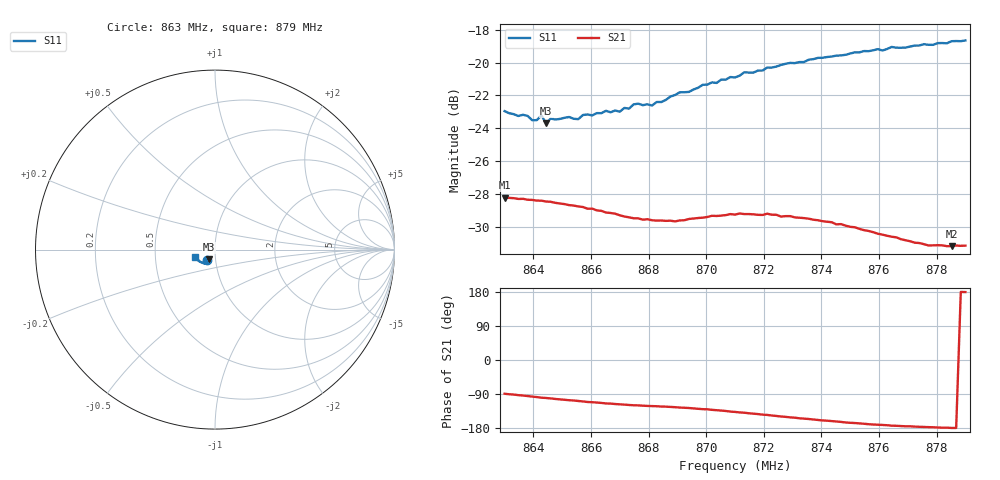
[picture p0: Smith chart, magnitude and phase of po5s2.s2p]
# HZ S RI R 50
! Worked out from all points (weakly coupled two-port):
!   101 points, 863 MHz to 879 MHz, reference 50 ohm
!   highest |S21| = -28.23 dB at 863 MHz (marker M1); lowest = -31.2 dB at 878.52 MHz (marker M2)
!   lowest |S11| = -23.7 dB at 864.44 MHz (marker M3), VSWR 1.14, Z = 46.3 - j5.08 ohm
!   |S11| at or under -10 dB: start of sweep to end of sweep
!   S12 and S22 are empty: the file has one direction only
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8.63e8  -0.0433 -0.0565  0.000693 -0.0388  0 0  0 0
8.638e8  -0.0402 -0.0558  -0.00342 -0.0381  0 0  0 0
8.6396e8  -0.0385 -0.0545  -0.00439 -0.0379  0 0  0 0
8.6412e8  -0.0373 -0.0554  -0.00521 -0.0376  0 0  0 0
8.6428e8  -0.0379 -0.0577  -0.00626 -0.0375  0 0  0 0
8.6444e8  -0.0359 -0.0547  -0.00668 -0.0372  0 0  0 0
8.646e8  -0.0368 -0.0566  -0.00745 -0.0369  0 0  0 0
8.6556e8  -0.0348 -0.0576  -0.0114 -0.0347  0 0  0 0
8.6572e8  -0.0346 -0.06  -0.012 -0.0343  0 0  0 0
8.67e8  -0.0342 -0.0621  -0.0155 -0.0305  0 0  0 0
8.6748e8  -0.0353 -0.0657  -0.0165 -0.0292  0 0  0 0
8.6812e8  -0.036 -0.0646  -0.0174 -0.0282  0 0  0 0
8.6844e8  -0.0366 -0.0664  -0.0179 -0.0278  0 0  0 0
8.6908e8  -0.0402 -0.0705  -0.0192 -0.0269  0 0  0 0
8.71e8  -0.0497 -0.0752  -0.0252 -0.0235  0 0  0 0
8.7132e8  -0.0529 -0.0769  -0.0261 -0.0227  0 0  0 0
8.7212e8  -0.0586 -0.0768  -0.0284 -0.0199  0 0  0 0
8.7372e8  -0.0706 -0.0742  -0.0306 -0.013  0 0  0 0
8.7644e8  -0.0935 -0.0609  -0.0293 -0.00346  0 0  0 0
8.7772e8  -0.1018 -0.0497  -0.0277 -0.00138  0 0  0 0
8.7852e8  -0.1072 -0.0449  -0.0276 -0.000295  0 0  0 0
8.79e8  -0.1101 -0.0389  -0.0277 0.000359  0 0  0 0
